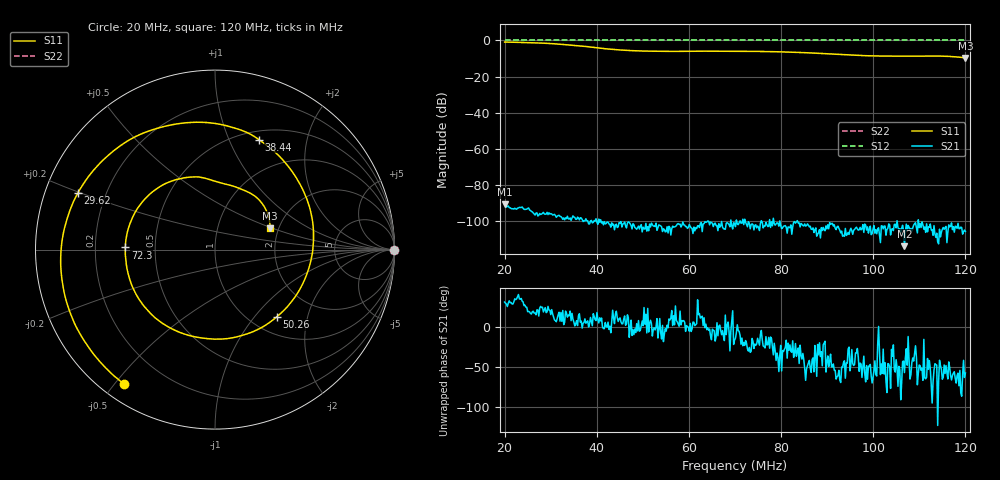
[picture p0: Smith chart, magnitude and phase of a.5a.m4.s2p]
! Anritsu VNA Master:  Model: MS2036C/10/77
! SN:  1601066
! /bd0/18may8/255.ew.m4.s2p
! Existing Calibration Information:
! TYPE:  Current Settings,  Active Cal Settings
! TIME:  05/08/2018 10:08:20 AM,  05/08/2018 09:57:41 AM
! INTERNAL TEMP:  47.0 C,  46.8 C
! # POINTS:  500,  500
! START FREQ:  20.000 MHz,  20.000 MHz
! STOP FREQ:  120.000 MHz,  120.000 MHz
! SOURCE POWER:  High,  High
! IFBW:  50 Hz,  50 Hz
! AVG FACTOR:  1 ,  1
! REF PLANE 1:  0 mm,  0 mm
! REF PLANE 2:  0 mm,  0 mm
! CAL TYPE:  Full S11,  Full S11
! CAL METHOD:  SOLT,  SOLT
! CAL LINE TYPE:  Coax,  Coax
! DUT PORT 1:  K-Conn(F),  K-Conn(F)
! DUT PORT 2:  K-Conn(F),  K-Conn(F)
! CAL STATUS:  OK: Accuracy High,  --
# GHZ S DB R 50.0
! FREQ.GHZ  S11DB  S11A  S21DB  S21A  S12DB  S12A  S22DB  S22A
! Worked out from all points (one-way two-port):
!   500 points, 20 MHz to 120 MHz, reference 50 ohm
!   highest |S21| = -90.77 dB at 20 MHz (marker M1); lowest = -113.9 dB at 106.8 MHz (marker M2)
!   lowest |S11| = -9.7 dB at 120 MHz (marker M3), VSWR 1.98, Z = 89.9 + j24.1 ohm
!   |S11| at or under -10 dB: nowhere
!   |S22| runs from 0.0 to 0.0 dB; largest |S21 - S12| = 1
!   S11 on the Smith chart (normalised r, x): 20 MHz: 0.07, -0.53; 29.62 MHz: 0.10, +0.20; 38.44 MHz: 0.60, +1.30; 50.26 MHz: 1.29, -1.31; 72.3 MHz: 0.33, +0.01; 120 MHz: 1.80, +0.48
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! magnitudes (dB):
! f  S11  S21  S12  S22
! 20 MHz  -0.9  -90.8  0.0  0.0
! 25.21 MHz  -1.2  -92.7  0.0  0.0
! 29.62 MHz  -1.7  -95.4  0.0  0.0
! 32.83 MHz  -2.2  -98.2  0.0  0.0
! 36.83 MHz  -3.2  -99.1  0.0  0.0
! 38.44 MHz  -3.6  -101.5  0.0  0.0
! 41.44 MHz  -4.5  -102.0  0.0  0.0
! 44.65 MHz  -5.2  -103.2  0.0  0.0
! 47.05 MHz  -5.6  -100.8  0.0  0.0
! 50.26 MHz  -5.9  -104.2  0.0  0.0
! 53.47 MHz  -6.0  -102.1  0.0  0.0
! 64.89 MHz  -5.9  -100.7  0.0  0.0
! 70.1 MHz  -6.0  -103.1  0.0  0.0
! 72.3 MHz  -6.0  -100.6  0.0  0.0
! 79.12 MHz  -6.3  -100.9  0.0  0.0
! 86.73 MHz  -6.9  -104.6  0.0  0.0
! 97.96 MHz  -8.4  -106.2  0.0  0.0
! 103.4 MHz  -8.7  -101.5  0.0  0.0
! 106.8 MHz  -8.7  -113.9  0.0  0.0
! 114.8 MHz  -8.7  -106.2  0.0  0.0
! 117.6 MHz  -9.0  -106.1  0.0  0.0
! 120 MHz  -9.7  -105.7  0.0  0.0
